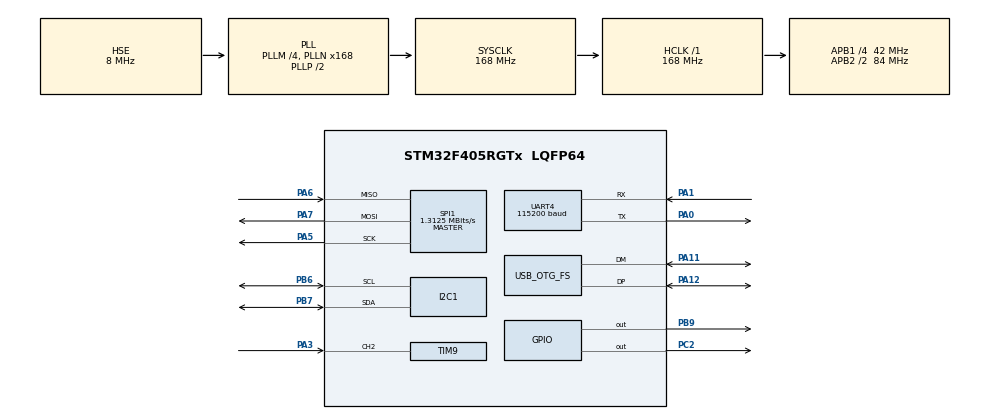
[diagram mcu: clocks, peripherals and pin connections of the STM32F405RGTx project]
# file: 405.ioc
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Dma.Request0=SPI1_RX
Dma.Request1=SPI1_TX
Dma.SPI1_RX.0.Direction=DMA_PERIPH_TO_MEMORY
Dma.SPI1_RX.0.FIFOMode=DMA_FIFOMODE_DISABLE
Dma.SPI1_RX.0.Instance=DMA2_Stream0
Dma.SPI1_RX.0.MemDataAlignment=DMA_MDATAALIGN_BYTE
Dma.SPI1_RX.0.MemInc=DMA_MINC_ENABLE
Dma.SPI1_RX.0.Mode=DMA_NORMAL
Dma.SPI1_RX.0.PeriphDataAlignment=DMA_PDATAALIGN_BYTE
Dma.SPI1_RX.0.PeriphInc=DMA_PINC_DISABLE
Dma.SPI1_RX.0.Priority=DMA_PRIORITY_HIGH
Dma.SPI1_TX.1.Direction=DMA_MEMORY_TO_PERIPH
Dma.SPI1_TX.1.FIFOMode=DMA_FIFOMODE_DISABLE
Dma.SPI1_TX.1.Instance=DMA2_Stream3
Dma.SPI1_TX.1.MemDataAlignment=DMA_MDATAALIGN_BYTE
Dma.SPI1_TX.1.MemInc=DMA_MINC_ENABLE
Dma.SPI1_TX.1.Mode=DMA_NORMAL
Dma.SPI1_TX.1.PeriphDataAlignment=DMA_PDATAALIGN_BYTE
Dma.SPI1_TX.1.PeriphInc=DMA_PINC_DISABLE
Dma.SPI1_TX.1.Priority=DMA_PRIORITY_HIGH
Mcu.Family=STM32F4
Mcu.Name=STM32F405RGTx
Mcu.Package=LQFP64
NVIC.DMA2_Stream0_IRQn=true\:0\:0\:false\:false\:true\:false\:true
NVIC.DMA2_Stream3_IRQn=true\:0\:0\:false\:false\:true\:false\:true
NVIC.OTG_FS_IRQn=true\:0\:0\:false\:false\:true\:false\:true
NVIC.PriorityGroup=NVIC_PRIORITYGROUP_4
NVIC.TIM1_BRK_TIM9_IRQn=true\:0\:0\:false\:false\:true\:true\:true
PA0-WKUP.Mode=Asynchronous
PA0-WKUP.Signal=UART4_TX
PA1.Mode=Asynchronous
PA1.Signal=UART4_RX
PA11.Mode=Device_Only
PA11.Signal=USB_OTG_FS_DM
PA12.Mode=Device_Only
PA12.Signal=USB_OTG_FS_DP
PA13.Mode=Serial_Wire
PA13.Signal=SYS_JTMS-SWDIO
PA14.Mode=Serial_Wire
PA14.Signal=SYS_JTCK-SWCLK
PA3.Signal=S_TIM9_CH2
PA5.Mode=Full_Duplex_Master
PA5.Signal=SPI1_SCK
PA6.Mode=Full_Duplex_Master
PA6.Signal=SPI1_MISO
PA7.Mode=Full_Duplex_Master
PA7.Signal=SPI1_MOSI
PB6.Mode=I2C
PB6.Signal=I2C1_SCL
PB7.Mode=I2C
PB7.Signal=I2C1_SDA
PB9.GPIO_Speed=GPIO_SPEED_FREQ_HIGH
PB9.PinState=GPIO_PIN_SET
PB9.Signal=GPIO_Output
PC2.GPIO_PuPd=GPIO_PULLUP
PC2.GPIO_Speed=GPIO_SPEED_FREQ_HIGH
PC2.PinState=GPIO_PIN_SET
PC2.Signal=GPIO_Output
PH0-OSC_IN.Mode=HSE-External-Oscillator
PH0-OSC_IN.Signal=RCC_OSC_IN
PH1-OSC_OUT.Mode=HSE-External-Oscillator
PH1-OSC_OUT.Signal=RCC_OSC_OUT
ProjectManager.HeapSize=0x200
ProjectManager.StackSize=0x400
ProjectManager.TargetToolchain=MDK-ARM V5
RCC.48MHZClocksFreq_Value=48000000
RCC.AHBFreq_Value=168000000
RCC.APB1CLKDivider=RCC_HCLK_DIV4
RCC.APB1Freq_Value=42000000
RCC.APB1TimFreq_Value=84000000
RCC.APB2CLKDivider=RCC_HCLK_DIV2
RCC.APB2Freq_Value=84000000
RCC.APB2TimFreq_Value=168000000
RCC.CortexFreq_Value=168000000
RCC.HCLKFreq_Value=168000000
RCC.HSE_VALUE=8000000
RCC.HSI_VALUE=16000000
RCC.LSE_VALUE=32768
RCC.PLLM=4
RCC.PLLN=168
RCC.PLLQ=7
RCC.SYSCLKFreq_VALUE=168000000
RCC.SYSCLKSource=RCC_SYSCLKSOURCE_PLLCLK
RCC.VCOOutputFreq_Value=336000000
SH.S_TIM9_CH2.0=TIM9_CH2,Input_Capture2_from_TI2
SPI1.BaudRatePrescaler=SPI_BAUDRATEPRESCALER_64
SPI1.CLKPhase=SPI_PHASE_2EDGE
SPI1.CLKPolarity=SPI_POLARITY_HIGH
SPI1.CRCCalculation=SPI_CRCCALCULATION_DISABLE
SPI1.CalculateBaudRate=1.3125 MBits/s
SPI1.Direction=SPI_DIRECTION_2LINES
SPI1.Mode=SPI_MODE_MASTER
SPI1.VirtualType=VM_MASTER
TIM6.AutoReloadPreload=TIM_AUTORELOAD_PRELOAD_ENABLE
TIM6.Prescaler=167
TIM7.Period=1
TIM7.Prescaler=41
TIM9.AutoReloadPreload=TIM_AUTORELOAD_PRELOAD_ENABLE
TIM9.Channel-Input_Capture2_from_TI2=TIM_CHANNEL_2
TIM9.ICPolarity_CH2=TIM_INPUTCHANNELPOLARITY_FALLING
TIM9.Prescaler=167
UART4.BaudRate=115200
UART4.VirtualMode=Asynchronous
USB_DEVICE.CLASS_NAME_FS=CDC
USB_DEVICE.VirtualMode-CDC_FS=Cdc
USB_DEVICE.VirtualModeFS=Cdc_FS
USB_OTG_FS.VirtualMode=Device_Only
VP_TIM6_VS_ClockSourceINT.Mode=Enable_Timer
VP_TIM7_VS_ClockSourceINT.Mode=Enable_Timer
VP_USB_DEVICE_VS_USB_DEVICE_CDC_FS.Mode=CDC_FS
board=custom

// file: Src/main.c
/* USER CODE BEGIN Header */
/**
  ******************************************************************************
  * @file           : main.c
  * @brief          : Main program body
  ******************************************************************************
  * @attention
  *
  * <h2><center>&copy; Copyright (c) 2022 STMicroelectronics.
  * All rights reserved.</center></h2>
  *
  * This software component is licensed by ST under BSD 3-Clause license,
  * the "License"; You may not use this file except in compliance with the
  * License. You may obtain a copy of the License at:
  *                        opensource.org/licenses/BSD-3-Clause
  *
  ******************************************************************************
  */
/* USER CODE END Header */
#include "main.h"
#include "dma.h"
#include "i2c.h"
#include "spi.h"
#include "tim.h"
#include "usart.h"
#include "usb_device.h"
#include "gpio.h"

/* USER CODE BEGIN Includes */
#include "mpu6000.h"
#include "hmc5883l.h"
#include "soft_i2c.h"
#include "bmp280.h"
#include "pca9685.h"
#include <stdio.h>
#include "ANO_DT.h"
#include "kalman.h"
#include "maths.h"
/* USER CODE END Includes */

void SystemClock_Config(void);

/* USER CODE BEGIN 0 */

int fputc(int ch, FILE *fp)
{
  HAL_UART_Transmit(&huart4, (uint8_t *)&ch, 1, 0xffff);
  return ch;
}

void Send_Status(double a, double b, double c)
{
	printf("250\r\n");
	printf("%lf\r\n",a);
	printf("%lf\r\n",b);
	printf("%lf\r\n",c);
}

u8 i=0;
float Altitude,pitch,roll;
u8 DATA=0;
u16 cnt=0,total_cnt,show;
extern u16 rc_sginal[11];
axis acc_data,gyro_data;
t_fp_vector_def acc_vector,facc_vector;

/* USER CODE END 0 */

int main(void)
{

  /* MCU Configuration--------------------------------------------------------*/

  /* Reset of all peripherals, Initializes the Flash interface and the Systick. */
  HAL_Init();

  /* Configure the system clock */
  SystemClock_Config();

  /* Initialize all configured peripherals */
  MX_GPIO_Init();
  MX_DMA_Init();
  MX_SPI1_Init();
  MX_TIM7_Init();
  MX_UART4_Init();
  MX_TIM9_Init();
  MX_I2C1_Init();
  MX_TIM6_Init();
  MX_USB_DEVICE_Init();
  /* USER CODE BEGIN 2 */
	mpu6000Init();
	PCA9685_Init();

	//bmp280Init();

//		PCA9685_Superfast_SetServoAngle(0, 90);
//		PCA9685_Superfast_SetServoAngle(1, 90);
//		PCA9685_Superfast_SetServoAngle(2, 90);
//		PCA9685_Superfast_SetServoAngle(3, 90);
 // iicsearch();

	//hmc5883lInit();
		HAL_TIM_Base_Start(&htim6);
		__HAL_TIM_SET_COUNTER(&htim6,0);
		HAL_TIM_IC_Start_IT(&htim9,TIM_CHANNEL_2);
  /* USER CODE END 2 */

  /* Infinite loop */
  /* USER CODE BEGIN WHILE */
  while (1)
  {
		//HAL_Delay(1);
		mpu6000AccRead(&acc_data);
		mpu6000GyroRead(&gyro_data);
		complementary_filter(&gyro_data ,&acc_data,&pitch,&roll);
		acc_vector=rotate(&acc_data, pitch,roll);
		facc_vector.X=0.8f*facc_vector.X+0.2f*acc_vector.X;
		facc_vector.Y=0.8f*facc_vector.Y+0.2f*acc_vector.Y;
		facc_vector.Z=0.8f*facc_vector.Z+0.2f*acc_vector.Z;
		//KalmanCalculation(&gyro_data ,&acc_data,&pitch,&roll);
	//	ANO_DT_Send_Status(facc_vector.X,facc_vector.Y,facc_vector.Z,0,0,0);
		if(i>50)
		{
	//	Send_Status((double)facc_vector.X,(double)facc_vector.Y,(double)facc_vector.Z);
		ANO_DT_Send_Status(facc_vector.X,facc_vector.Y,facc_vector.Z,0,0,0);
		i=0;}
		i++;

    /* USER CODE END WHILE */

  }
}

void SystemClock_Config(void)
{
  RCC_OscInitTypeDef RCC_OscInitStruct = {0};
  RCC_ClkInitTypeDef RCC_ClkInitStruct = {0};

  /** Configure the main internal regulator output voltage
  */
  __HAL_RCC_PWR_CLK_ENABLE();
  __HAL_PWR_VOLTAGESCALING_CONFIG(PWR_REGULATOR_VOLTAGE_SCALE1);
  /** Initializes the RCC Oscillators according to the specified parameters
  * in the RCC_OscInitTypeDef structure.
  */
  RCC_OscInitStruct.OscillatorType = RCC_OSCILLATORTYPE_HSE;
  RCC_OscInitStruct.HSEState = RCC_HSE_ON;
  RCC_OscInitStruct.PLL.PLLState = RCC_PLL_ON;
  RCC_OscInitStruct.PLL.PLLSource = RCC_PLLSOURCE_HSE;
  RCC_OscInitStruct.PLL.PLLM = 4;
  RCC_OscInitStruct.PLL.PLLN = 168;
  RCC_OscInitStruct.PLL.PLLP = RCC_PLLP_DIV2;
  RCC_OscInitStruct.PLL.PLLQ = 7;
  if (HAL_RCC_OscConfig(&RCC_OscInitStruct) != HAL_OK)
  {
    Error_Handler();
  }
  /** Initializes the CPU, AHB and APB buses clocks
  */
  RCC_ClkInitStruct.ClockType = RCC_CLOCKTYPE_HCLK|RCC_CLOCKTYPE_SYSCLK
                              |RCC_CLOCKTYPE_PCLK1|RCC_CLOCKTYPE_PCLK2;
  RCC_ClkInitStruct.SYSCLKSource = RCC_SYSCLKSOURCE_PLLCLK;
  RCC_ClkInitStruct.AHBCLKDivider = RCC_SYSCLK_DIV1;
  RCC_ClkInitStruct.APB1CLKDivider = RCC_HCLK_DIV4;
  RCC_ClkInitStruct.APB2CLKDivider = RCC_HCLK_DIV2;

  if (HAL_RCC_ClockConfig(&RCC_ClkInitStruct, FLASH_LATENCY_5) != HAL_OK)
  {
    Error_Handler();
  }
}

void Error_Handler(void)
{
}

/************************ (C) COPYRIGHT STMicroelectronics *****END OF FILE****/
